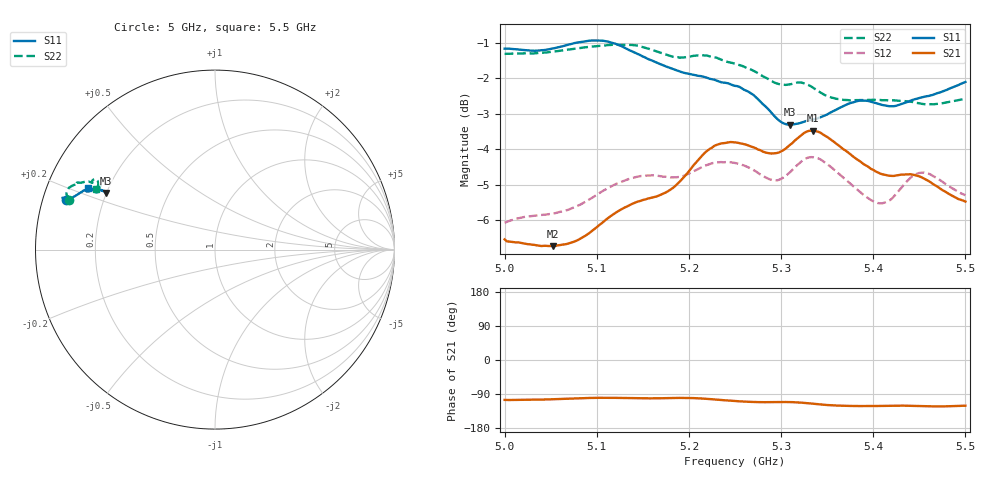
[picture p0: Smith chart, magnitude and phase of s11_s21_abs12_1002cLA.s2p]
! MS46122B
! 1919307/90821646
! 6/10/2022 12:31:11 PM
! C:\USERS\PC_\DESKTOP\CARACTERIZACION\MEDICIONES\BANCHA ESTRECHA\5_55GHZ\S11_S21_ABS12_1002CL.S2P
! CHANNEL.1
! TR.MEASUREMENT
! CORRECTED.DATA
# GHZ S RI R 50.0
! FREQ.GHZ  S11RE  S11IM  S21RE  S21IM  S12RE  S12IM  S22RE  S22IM
!; PortSelection: Port_12
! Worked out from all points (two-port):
!   201 points, 5 GHz to 5.5 GHz, reference 50 ohm
!   highest |S21| = -3.47 dB at 5.335 GHz (marker M1); lowest = -6.7 dB at 5.053 GHz (marker M2)
!   |S21| within 3 dB of the highest: 5.085 GHz to end of sweep
!   lowest |S11| = -3.3 dB at 5.31 GHz (marker M3), VSWR 5.32, Z = 9.94 + j11.7 ohm
!   |S11| at or under -10 dB: nowhere
!   |S22| runs from -2.7 to -1.0 dB; largest |S21 - S12| = 0.083
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5  -0.8296 0.2774  -0.1244 -0.4546  -0.0865 -0.4899  -0.8142 0.2771
5.0525  -0.8279 0.2835  -0.1082 -0.4482  -0.0986 -0.5032  -0.8156 0.2923
5.085  -0.8475 0.2876  -0.0881 -0.4663  -0.0989 -0.5208  -0.8246 0.3011
5.12  -0.8422 0.2847  -0.0884 -0.5057  -0.1199 -0.5505  -0.8268 0.3192
5.1675  -0.7779 0.299  -0.1041 -0.5333  -0.163 -0.5555  -0.7862 0.3599
5.185  -0.7537 0.315  -0.0987 -0.5515  -0.166 -0.5519  -0.769 0.3643
5.205  -0.7341 0.3278  -0.1095 -0.5892  -0.1714 -0.5624  -0.7723 0.3661
5.2275  -0.7198 0.3282  -0.1556 -0.619  -0.1965 -0.5716  -0.7637 0.3742
5.25  -0.7041 0.3247  -0.2022 -0.613  -0.2233 -0.5611  -0.7449 0.3726
5.2675  -0.6801 0.3313  -0.2239 -0.5964  -0.2358 -0.5437  -0.725 0.3773
5.2875  -0.6349 0.3304  -0.2257 -0.5807  -0.2254 -0.5264  -0.6953 0.3765
5.31  -0.6067 0.3149  -0.2314 -0.5977  -0.2132 -0.5465  -0.6836 0.3743
5.325  -0.6114 0.3205  -0.2615 -0.6121  -0.2371 -0.563  -0.6775 0.3897
5.335  -0.6147 0.3247  -0.2894 -0.6049  -0.2591 -0.558  -0.6636 0.3913
5.35  -0.6258 0.3281  -0.3168 -0.5757  -0.2779 -0.5334  -0.6507 0.3738
5.37  -0.6462 0.3373  -0.3236 -0.5391  -0.2777 -0.5005  -0.6531 0.3495
5.3975  -0.6526 0.3415  -0.3093 -0.5053  -0.246 -0.4756  -0.6572 0.3419
5.4175  -0.6482 0.3265  -0.2962 -0.4979  -0.2158 -0.4891  -0.6517 0.3486
5.43  -0.6572 0.3189  -0.2952 -0.5009  -0.2131 -0.5136  -0.6476 0.3549
5.4475  -0.669 0.3249  -0.303 -0.494  -0.2379 -0.5324  -0.6392 0.36
5.47  -0.6791 0.3356  -0.3001 -0.4715  -0.2627 -0.5106  -0.6428 0.3491
5.5  -0.7053 0.3448  -0.2704 -0.4592  -0.2397 -0.4882  -0.6652 0.3351
